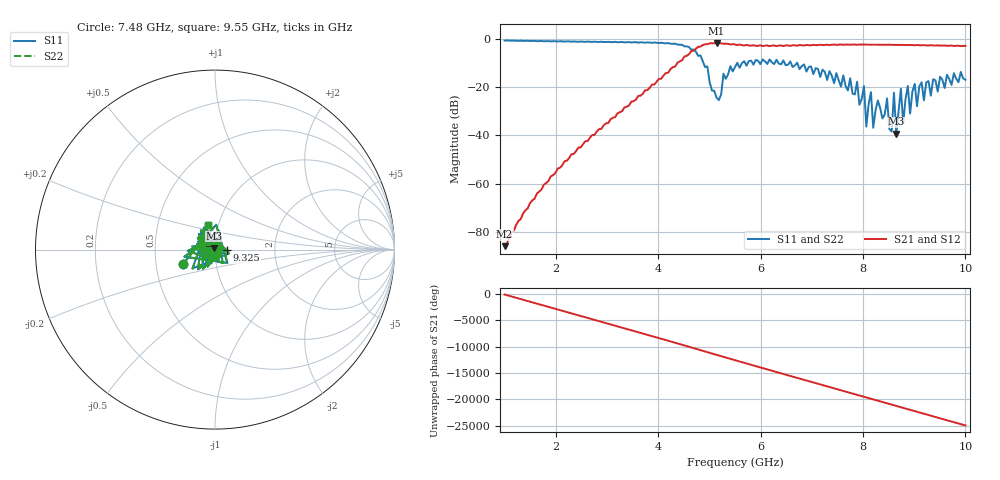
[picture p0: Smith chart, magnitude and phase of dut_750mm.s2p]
# HZ S RI R 50
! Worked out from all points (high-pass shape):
!   201 points, 1 GHz to 10 GHz, reference 50 ohm
!   highest |S21| = -1.80 dB at 5.14 GHz (marker M1); lowest = -86.0 dB at 1 GHz (marker M2)
!   |S21| within 3 dB of the highest: 4.696 GHz to end of sweep
!   lowest |S11| = -39.3 dB at 8.65 GHz (marker M3), VSWR 1.02, Z = 49.5 + j0.953 ohm
!   |S11| at or under -10 dB: 4.884 GHz to 5.543 GHz (658.5 MHz wide, 12.6 % of centre); 5.547 GHz to 5.64 GHz (92.91 MHz wide, 1.66 % of centre); 6.717 GHz to end of sweep (the widest 3 of 11)
!   |S22| runs from -39.3 to -0.7 dB; largest |S21 - S12| = 0
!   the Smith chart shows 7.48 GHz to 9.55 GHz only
!   S11 on the Smith chart (normalised r, x): 7.48 GHz: 0.69, -0.11; 9.325 GHz: 1.14, -0.01; 9.55 GHz: 0.89, +0.25
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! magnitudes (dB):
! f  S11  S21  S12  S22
! 1 GHz  -0.7  -86.0  -86.0  -0.7
! 2.53 GHz  -1.2  -43.7  -43.7  -1.2
! 4.015 GHz  -1.7  -16.6  -16.6  -1.7
! 4.825 GHz  -6.8  -3.2  -3.2  -6.8
! 5.14 GHz  -24.4  -1.8  -1.8  -24.4
! 5.5 GHz  -11.7  -2.3  -2.3  -11.7
! 7.03 GHz  -14.6  -2.5  -2.5  -14.6
! 7.48 GHz  -14.2  -2.5  -2.5  -14.2
! 8.02 GHz  -19.6  -2.4  -2.4  -19.6
! 8.065 GHz  -36.4  -2.4  -2.4  -36.4
! 8.155 GHz  -22.1  -2.4  -2.4  -22.1
! 8.2 GHz  -36.9  -2.4  -2.4  -36.9
! 8.47 GHz  -24.7  -2.5  -2.5  -24.7
! 8.515 GHz  -37.4  -2.4  -2.4  -37.4
! 8.605 GHz  -22.3  -2.5  -2.5  -22.3
! 8.65 GHz  -39.3  -2.5  -2.5  -39.3
! 8.74 GHz  -20.7  -2.5  -2.5  -20.7
! 8.785 GHz  -35.0  -2.5  -2.5  -35.0
! 8.875 GHz  -19.5  -2.6  -2.6  -19.5
! 9.325 GHz  -23.5  -2.6  -2.6  -23.5
! 9.55 GHz  -16.9  -2.8  -2.8  -16.9
! 10 GHz  -17.0  -2.9  -2.9  -17.0
